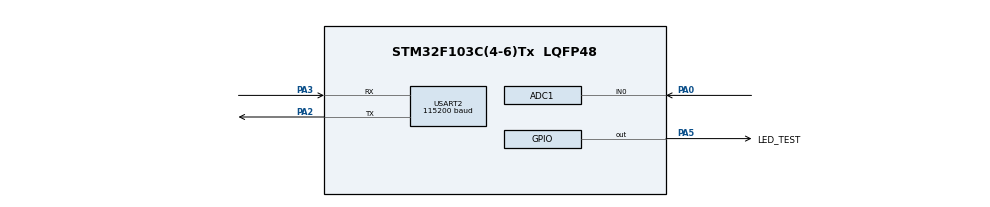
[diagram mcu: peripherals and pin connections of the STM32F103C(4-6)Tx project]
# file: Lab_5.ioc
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ADC1.Channel-0\#ChannelRegularConversion=ADC_CHANNEL_0
ADC1.ContinuousConvMode=ENABLE
ADC1.NbrOfConversionFlag=1
ADC1.Rank-0\#ChannelRegularConversion=1
ADC1.SamplingTime-0\#ChannelRegularConversion=ADC_SAMPLETIME_1CYCLE_5
ADC1.master=1
Mcu.Family=STM32F1
Mcu.Name=STM32F103C(4-6)Tx
Mcu.Package=LQFP48
NVIC.PriorityGroup=NVIC_PRIORITYGROUP_4
NVIC.USART2_IRQn=true\:0\:0\:false\:false\:true\:true\:true
PA0-WKUP.Signal=ADCx_IN0
PA2.Mode=Asynchronous
PA2.Signal=USART2_TX
PA3.Mode=Asynchronous
PA3.Signal=USART2_RX
PA5.GPIO_Label=LED_TEST
PA5.Signal=GPIO_Output
ProjectManager.HeapSize=0x200
ProjectManager.StackSize=0x400
ProjectManager.TargetToolchain=STM32CubeIDE
RCC.APB1Freq_Value=8000000
RCC.APB2Freq_Value=8000000
SH.ADCx_IN0.0=ADC1_IN0,IN0
TIM2.Period=99
TIM2.Prescaler=7999
USART2.BaudRate=115200
USART2.VirtualMode=VM_ASYNC
VP_SYS_VS_ND.Mode=No_Debug
VP_TIM2_VS_ClockSourceINT.Mode=Internal
board=custom

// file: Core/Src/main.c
/* USER CODE BEGIN Header */
/**
  ******************************************************************************
  * @file           : main.c
  * @brief          : Main program body
  ******************************************************************************
  * @attention
  *
  * <h2><center>&copy; Copyright (c) 2024 STMicroelectronics.
  * All rights reserved.</center></h2>
  *
  * This software component is licensed by ST under BSD 3-Clause license,
  * the "License"; You may not use this file except in compliance with the
  * License. You may obtain a copy of the License at:
  *                        opensource.org/licenses/BSD-3-Clause
  *
  ******************************************************************************
  */
/* USER CODE END Header */
#include "main.h"

/* USER CODE BEGIN Includes */
#include "global.h"
#include "fsm_uart.h"
#include <stdio.h>
#include "software_timer.h"
/* USER CODE END Includes */

ADC_HandleTypeDef hadc1;

TIM_HandleTypeDef htim2;

UART_HandleTypeDef huart2;

void SystemClock_Config(void);
static void MX_GPIO_Init(void);
static void MX_TIM2_Init(void);
static void MX_USART2_UART_Init(void);
static void MX_ADC1_Init(void);

/* USER CODE BEGIN 0 */
uint8_t data[] = "Hello UART";

uint8_t data_recv[] = {0, 1, 2, 3, 4, 5, 6, 7};
void HAL_UART_RxCpltCallback(UART_HandleTypeDef *huart) {
	if(huart->Instance == USART2){
		HAL_UART_Transmit(&huart2, &tempValue, 1, 50);
		cmd_content_index ++;
		cmdBuffer[cmd_content_index] = tempValue;
		buffer_flag = 1;
		if(cmd_content_index >= CMD_CONTENT_MAX_LENGTH){
			cmd_content_index = 0 ;
		}
		HAL_UART_Receive_IT(&huart2, &tempValue, 1);
	}
}
/* USER CODE END 0 */

int main(void)
{

  /* MCU Configuration--------------------------------------------------------*/

  /* Reset of all peripherals, Initializes the Flash interface and the Systick. */
  HAL_Init();

  /* Configure the system clock */
  SystemClock_Config();

  /* Initialize all configured peripherals */
  MX_GPIO_Init();
  MX_TIM2_Init();
  MX_USART2_UART_Init();
  MX_ADC1_Init();
  HAL_TIM_Base_Start_IT(&htim2);
  HAL_UART_Receive_IT (&huart2, &tempValue, 1);
  HAL_ADC_Start(&hadc1);

  char welcome[50];
  HAL_UART_Transmit(&huart2, (void *)welcome, sprintf(welcome, "STARTING STM32 UART LAB5\r\n"), 50);
  setTimer2(500);
  /* USER CODE END 2 */

  /* Infinite loop */
  /* USER CODE BEGIN WHILE */
  //char response[50];
  while (1)
  {
      /* USER CODE END WHILE */
  	  if(timer2_flag==1)
  	  {
  		  setTimer2(500);
  		  HAL_GPIO_TogglePin(LED_TEST_GPIO_Port, LED_TEST_Pin);
  	  }
  	  if(buffer_flag == 1)
  	  {
  		  command_parser_fsm();
  		  buffer_flag = 0;
  	  }
  	  uart_communiation_fsm();

  }
}

void SystemClock_Config(void)
{
  RCC_OscInitTypeDef RCC_OscInitStruct = {0};
  RCC_ClkInitTypeDef RCC_ClkInitStruct = {0};
  RCC_PeriphCLKInitTypeDef PeriphClkInit = {0};

  /** Initializes the RCC Oscillators according to the specified parameters
  * in the RCC_OscInitTypeDef structure.
  */
  RCC_OscInitStruct.OscillatorType = RCC_OSCILLATORTYPE_HSI;
  RCC_OscInitStruct.HSIState = RCC_HSI_ON;
  RCC_OscInitStruct.HSICalibrationValue = RCC_HSICALIBRATION_DEFAULT;
  RCC_OscInitStruct.PLL.PLLState = RCC_PLL_NONE;
  if (HAL_RCC_OscConfig(&RCC_OscInitStruct) != HAL_OK)
  {
    Error_Handler();
  }
  /** Initializes the CPU, AHB and APB buses clocks
  */
  RCC_ClkInitStruct.ClockType = RCC_CLOCKTYPE_HCLK|RCC_CLOCKTYPE_SYSCLK
                              |RCC_CLOCKTYPE_PCLK1|RCC_CLOCKTYPE_PCLK2;
  RCC_ClkInitStruct.SYSCLKSource = RCC_SYSCLKSOURCE_HSI;
  RCC_ClkInitStruct.AHBCLKDivider = RCC_SYSCLK_DIV1;
  RCC_ClkInitStruct.APB1CLKDivider = RCC_HCLK_DIV1;
  RCC_ClkInitStruct.APB2CLKDivider = RCC_HCLK_DIV1;

  if (HAL_RCC_ClockConfig(&RCC_ClkInitStruct, FLASH_LATENCY_0) != HAL_OK)
  {
    Error_Handler();
  }
  PeriphClkInit.PeriphClockSelection = RCC_PERIPHCLK_ADC;
  PeriphClkInit.AdcClockSelection = RCC_ADCPCLK2_DIV2;
  if (HAL_RCCEx_PeriphCLKConfig(&PeriphClkInit) != HAL_OK)
  {
    Error_Handler();
  }
}

static void MX_ADC1_Init(void)
{

  ADC_ChannelConfTypeDef sConfig = {0};

  /** Common config
  */
  hadc1.Instance = ADC1;
  hadc1.Init.ScanConvMode = ADC_SCAN_DISABLE;
  hadc1.Init.ContinuousConvMode = ENABLE;
  hadc1.Init.DiscontinuousConvMode = DISABLE;
  hadc1.Init.ExternalTrigConv = ADC_SOFTWARE_START;
  hadc1.Init.DataAlign = ADC_DATAALIGN_RIGHT;
  hadc1.Init.NbrOfConversion = 1;
  if (HAL_ADC_Init(&hadc1) != HAL_OK)
  {
    Error_Handler();
  }
  /** Configure Regular Channel
  */
  sConfig.Channel = ADC_CHANNEL_0;
  sConfig.Rank = ADC_REGULAR_RANK_1;
  sConfig.SamplingTime = ADC_SAMPLETIME_1CYCLE_5;
  if (HAL_ADC_ConfigChannel(&hadc1, &sConfig) != HAL_OK)
  {
    Error_Handler();
  }

}

static void MX_TIM2_Init(void)
{

  TIM_ClockConfigTypeDef sClockSourceConfig = {0};
  TIM_MasterConfigTypeDef sMasterConfig = {0};

  htim2.Instance = TIM2;
  htim2.Init.Prescaler = 7999;
  htim2.Init.CounterMode = TIM_COUNTERMODE_UP;
  htim2.Init.Period = 99;
  htim2.Init.ClockDivision = TIM_CLOCKDIVISION_DIV1;
  htim2.Init.AutoReloadPreload = TIM_AUTORELOAD_PRELOAD_DISABLE;
  if (HAL_TIM_Base_Init(&htim2) != HAL_OK)
  {
    Error_Handler();
  }
  sClockSourceConfig.ClockSource = TIM_CLOCKSOURCE_INTERNAL;
  if (HAL_TIM_ConfigClockSource(&htim2, &sClockSourceConfig) != HAL_OK)
  {
    Error_Handler();
  }
  sMasterConfig.MasterOutputTrigger = TIM_TRGO_RESET;
  sMasterConfig.MasterSlaveMode = TIM_MASTERSLAVEMODE_DISABLE;
  if (HAL_TIMEx_MasterConfigSynchronization(&htim2, &sMasterConfig) != HAL_OK)
  {
    Error_Handler();
  }

}

static void MX_USART2_UART_Init(void)
{

  huart2.Instance = USART2;
  huart2.Init.BaudRate = 115200;
  huart2.Init.WordLength = UART_WORDLENGTH_8B;
  huart2.Init.StopBits = UART_STOPBITS_1;
  huart2.Init.Parity = UART_PARITY_NONE;
  huart2.Init.Mode = UART_MODE_TX_RX;
  huart2.Init.HwFlowCtl = UART_HWCONTROL_NONE;
  huart2.Init.OverSampling = UART_OVERSAMPLING_16;
  if (HAL_UART_Init(&huart2) != HAL_OK)
  {
    Error_Handler();
  }

}

static void MX_GPIO_Init(void)
{
  GPIO_InitTypeDef GPIO_InitStruct = {0};

  /* GPIO Ports Clock Enable */
  __HAL_RCC_GPIOA_CLK_ENABLE();

  /*Configure GPIO pin Output Level */
  HAL_GPIO_WritePin(LED_TEST_GPIO_Port, LED_TEST_Pin, GPIO_PIN_RESET);

  /*Configure GPIO pin : LED_TEST_Pin */
  GPIO_InitStruct.Pin = LED_TEST_Pin;
  GPIO_InitStruct.Mode = GPIO_MODE_OUTPUT_PP;
  GPIO_InitStruct.Pull = GPIO_NOPULL;
  GPIO_InitStruct.Speed = GPIO_SPEED_FREQ_LOW;
  HAL_GPIO_Init(LED_TEST_GPIO_Port, &GPIO_InitStruct);

}

/* USER CODE BEGIN 4 */
void HAL_TIM_PeriodElapsedCallback (TIM_HandleTypeDef * htim) {
	timerRun();
}
/* USER CODE END 4 */

void Error_Handler(void)
{
  __disable_irq();
  while (1)
  {
  }
}

/************************ (C) COPYRIGHT STMicroelectronics *****END OF FILE****/
